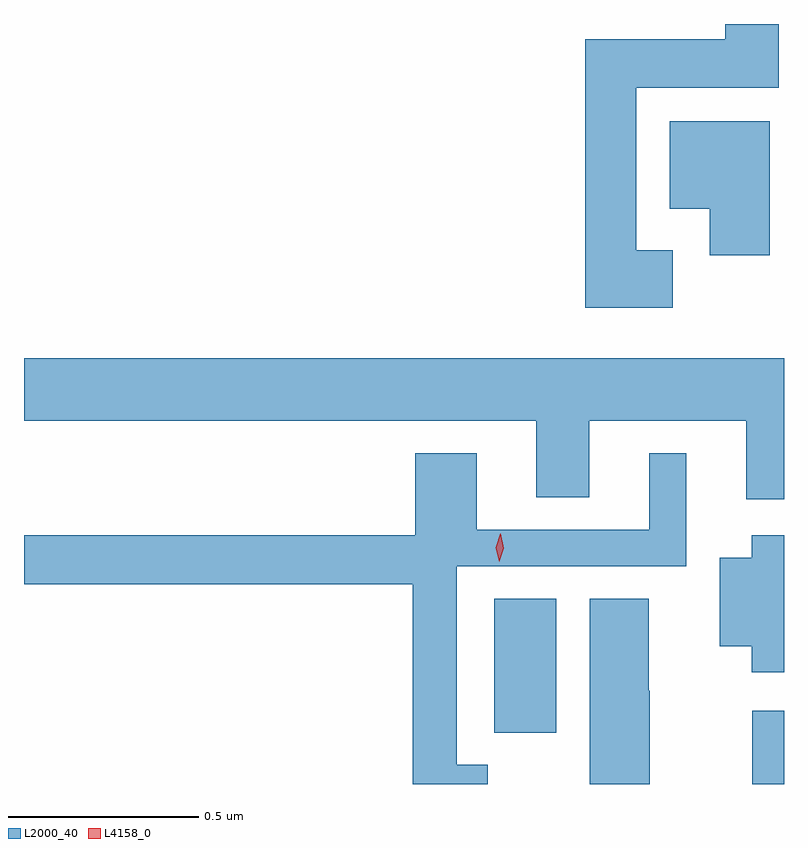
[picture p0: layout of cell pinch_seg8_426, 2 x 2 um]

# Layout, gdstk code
import gdstk
lib = gdstk.Library(unit=1e-6, precision=1e-09)
def R(c, l, rs):  # rectangles x0, y0, x1, y1
    for r in rs: c.add(gdstk.rectangle(r[:2], r[2:], *l))
def P(c, l, *ps):  # polygons
    for p in ps: c.add(gdstk.Polygon(p, *l))
L2000_40 = (2000, 40)
L4158_0 = (4158, 0)

pinch_seg8_426 = lib.new_cell('pinch_seg8_426')
R(pinch_seg8_426, L2000_40, [(289.444,1138.188,289.527,1138.381), (288.764,1138.323,288.928,1138.676)])
P(pinch_seg8_426, L2000_40, [(289.234,1139.593),(289.138,1139.593),(289.138,1140.02),(289.513,1140.02),(289.513,1140.188),(289.373,1140.188),(289.373,1140.148),(289.004,1140.148),(289.004,1139.441),(289.234,1139.441)],
  [(289.489,1139.932),(289.226,1139.932),(289.226,1139.702),(289.331,1139.702),(289.331,1139.58),(289.489,1139.58)],
  [(289.527,1139.308),(287.527,1139.308),(287.527,1139.144),(288.875,1139.144),(288.875,1138.942),(289.015,1138.942),(289.015,1139.144),(289.427,1139.144),(289.427,1138.938),(289.527,1138.938)],
  [(288.748,1138.239),(288.666,1138.239),(288.666,1138.761),(289.27,1138.761),(289.27,1139.059),(289.172,1139.059),(289.172,1138.857),(288.718,1138.857),(288.718,1139.059),(288.557,1139.059),(288.557,1138.843),(287.527,1138.843),(287.527,1138.714),(288.55,1138.714),(288.55,1138.188),(288.748,1138.188)],
  [(289.527,1138.843),(289.442,1138.843),(289.442,1138.783),(289.358,1138.783),(289.358,1138.55),(289.442,1138.55),(289.442,1138.482),(289.527,1138.482)],
  [(289.174,1138.434),(289.171,1138.434),(289.171,1138.676),(289.016,1138.676),(289.016,1138.188),(289.174,1138.188)])
P(pinch_seg8_426, L4158_0, [(288.778,1138.773),(288.778,1138.773),(288.769,1138.81),(288.78,1138.846),(288.78,1138.846),(288.781,1138.846),(288.789,1138.809),(288.778,1138.773)])

lib.write_gds('pinch_seg8_426.gds')
